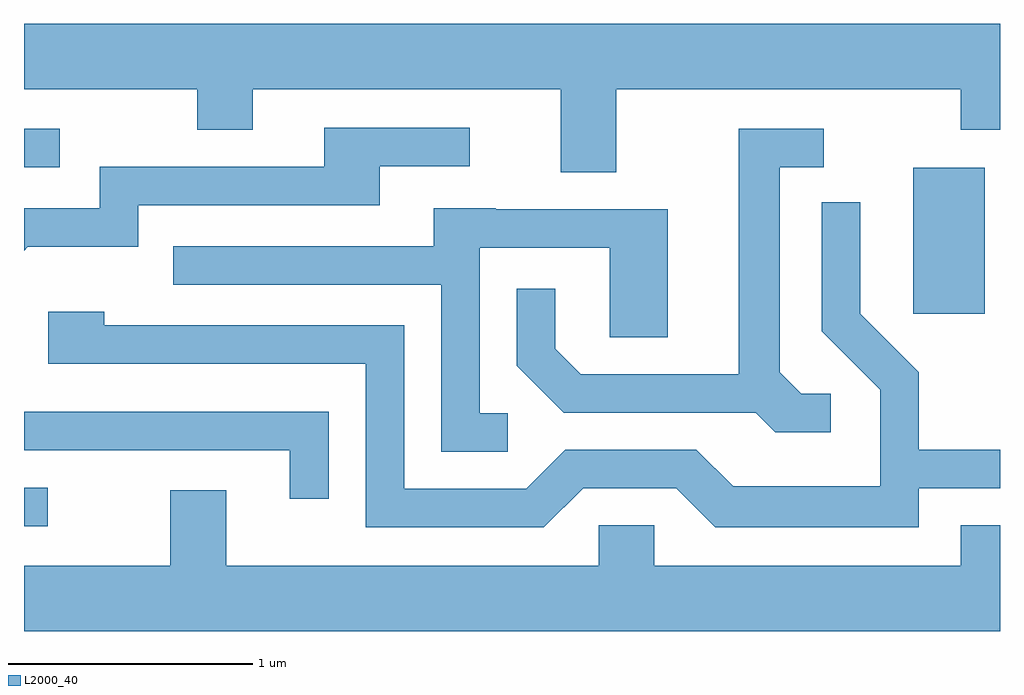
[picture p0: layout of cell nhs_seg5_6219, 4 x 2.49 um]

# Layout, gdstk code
import gdstk
lib = gdstk.Library(unit=1e-6, precision=1e-09)
def R(c, l, rs):  # rectangles x0, y0, x1, y1
    for r in rs: c.add(gdstk.rectangle(r[:2], r[2:], *l))
def P(c, l, *ps):  # polygons
    for p in ps: c.add(gdstk.Polygon(p, *l))
L2000_40 = (2000, 40)

nhs_seg5_6219 = lib.new_cell('nhs_seg5_6219')
R(nhs_seg5_6219, L2000_40, [(369.611,1457.226,369.708,1457.384), (373.256,1458.096,373.549,1458.694), (369.611,1458.696,369.758,1458.854)])
P(nhs_seg5_6219, L2000_40, [(372.039,1459.016),(373.451,1459.016),(373.451,1458.851),(373.611,1458.851),(373.611,1459.284),(369.611,1459.284),(369.611,1459.016),(370.321,1459.016),(370.321,1458.851),(370.549,1458.851),(370.549,1459.016),(371.811,1459.016),(371.811,1458.676),(372.039,1458.676)],
  [(369.627,1458.371),(370.079,1458.371),(370.079,1458.541),(371.069,1458.541),(371.069,1458.701),(371.438,1458.701),(371.438,1458.859),(370.841,1458.859),(370.841,1458.699),(369.921,1458.699),(369.921,1458.529),(369.611,1458.529),(369.611,1458.355)],
  [(372.918,1457.769),(372.797,1457.769),(372.709,1457.857),(372.709,1458.696),(372.888,1458.696),(372.888,1458.854),(372.541,1458.854),(372.541,1457.849),(371.892,1457.849),(371.789,1457.952),(371.789,1458.198),(371.631,1458.198),(371.631,1457.884),(371.824,1457.691),(372.609,1457.691),(372.689,1457.611),(372.918,1457.611)],
  [(371.902,1457.381),(372.284,1457.381),(372.444,1457.221),(373.279,1457.221),(373.279,1457.381),(373.611,1457.381),(373.611,1457.539),(373.279,1457.539),(373.279,1457.857),(373.039,1458.097),(373.039,1458.553),(372.881,1458.553),(372.881,1458.024),(373.121,1457.784),(373.121,1457.389),(372.517,1457.389),(372.367,1457.539),(371.829,1457.539),(371.669,1457.379),(371.169,1457.379),(371.169,1458.049),(369.939,1458.049),(369.939,1458.104),(369.711,1458.104),(369.711,1457.891),(371.011,1457.891),(371.011,1457.221),(371.742,1457.221)],
  [(371.593,1457.689),(371.479,1457.689),(371.479,1458.366),(372.011,1458.366),(372.011,1458.001),(372.249,1458.001),(372.249,1458.524),(371.545,1458.524),(371.545,1458.529),(371.291,1458.529),(371.291,1458.374),(370.223,1458.374),(370.223,1458.216),(371.321,1458.216),(371.321,1457.531),(371.593,1457.531)],
  [(370.859,1457.694),(369.611,1457.694),(369.611,1457.536),(370.701,1457.536),(370.701,1457.338),(370.859,1457.338)],
  [(373.611,1457.229),(373.451,1457.229),(373.451,1457.064),(372.194,1457.064),(372.194,1457.229),(371.966,1457.229),(371.966,1457.064),(370.439,1457.064),(370.439,1457.374),(370.211,1457.374),(370.211,1457.064),(369.611,1457.064),(369.611,1456.796),(373.611,1456.796)])

lib.write_gds('nhs_seg5_6219.gds')
